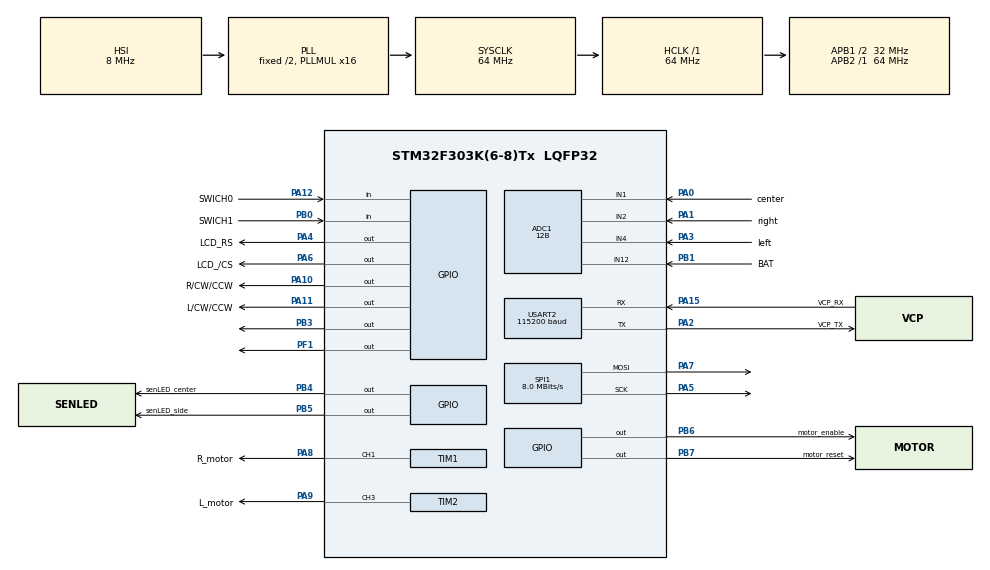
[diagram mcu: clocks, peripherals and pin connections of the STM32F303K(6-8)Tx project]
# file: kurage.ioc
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ADC1.Channel-0\#ChannelRegularConversion=ADC_CHANNEL_12
ADC1.Channel-1\#ChannelRegularConversion=ADC_CHANNEL_1
ADC1.Channel-2\#ChannelRegularConversion=ADC_CHANNEL_4
ADC1.Channel-3\#ChannelRegularConversion=ADC_CHANNEL_2
ADC1.ClockPrescaler=ADC_CLOCK_SYNC_PCLK_DIV4
ADC1.ContinuousConvMode=ENABLE
ADC1.DMAContinuousRequests=ENABLE
ADC1.EnableInjectedConversion=DISABLE
ADC1.NbrOfConversion=4
ADC1.NbrOfConversionFlag=1
ADC1.Offset-0\#ChannelRegularConversion=0
ADC1.Offset-1\#ChannelRegularConversion=0
ADC1.Offset-2\#ChannelRegularConversion=0
ADC1.Offset-3\#ChannelRegularConversion=0
ADC1.OffsetNumber-0\#ChannelRegularConversion=ADC_OFFSET_NONE
ADC1.OffsetNumber-1\#ChannelRegularConversion=ADC_OFFSET_NONE
ADC1.OffsetNumber-2\#ChannelRegularConversion=ADC_OFFSET_NONE
ADC1.OffsetNumber-3\#ChannelRegularConversion=ADC_OFFSET_NONE
ADC1.Rank-0\#ChannelRegularConversion=1
ADC1.Rank-1\#ChannelRegularConversion=2
ADC1.Rank-2\#ChannelRegularConversion=3
ADC1.Rank-3\#ChannelRegularConversion=4
ADC1.Resolution=ADC_RESOLUTION_12B
ADC1.SamplingTime-0\#ChannelRegularConversion=ADC_SAMPLETIME_19CYCLES_5
ADC1.SamplingTime-1\#ChannelRegularConversion=ADC_SAMPLETIME_19CYCLES_5
ADC1.SamplingTime-2\#ChannelRegularConversion=ADC_SAMPLETIME_19CYCLES_5
ADC1.SamplingTime-3\#ChannelRegularConversion=ADC_SAMPLETIME_19CYCLES_5
ADC1.SubFamily=STM32F303x8
ADC1.master=1
Dma.ADC1.0.Direction=DMA_PERIPH_TO_MEMORY
Dma.ADC1.0.Instance=DMA1_Channel1
Dma.ADC1.0.MemDataAlignment=DMA_MDATAALIGN_HALFWORD
Dma.ADC1.0.MemInc=DMA_MINC_ENABLE
Dma.ADC1.0.Mode=DMA_CIRCULAR
Dma.ADC1.0.PeriphDataAlignment=DMA_PDATAALIGN_HALFWORD
Dma.ADC1.0.PeriphInc=DMA_PINC_DISABLE
Dma.ADC1.0.Priority=DMA_PRIORITY_LOW
Dma.Request0=ADC1
Mcu.Family=STM32F3
Mcu.Name=STM32F303K(6-8)Tx
Mcu.Package=LQFP32
NVIC.DMA1_Channel1_IRQn=true\:4\:0\:true\:false\:true\:false\:true
NVIC.PriorityGroup=NVIC_PRIORITYGROUP_4
NVIC.TIM1_CC_IRQn=true\:0\:0\:false\:false\:true\:true\:true
NVIC.TIM1_UP_TIM16_IRQn=true\:1\:0\:true\:false\:true\:true\:true
NVIC.TIM2_IRQn=true\:2\:0\:true\:false\:true\:true\:true
NVIC.TIM3_IRQn=true\:0\:0\:false\:false\:true\:true\:true
NVIC.TIM6_DAC1_IRQn=true\:3\:0\:true\:false\:true\:true\:true
PA0.GPIO_Label=center
PA0.Mode=IN1-Single-Ended
PA0.Signal=ADC1_IN1
PA1.GPIO_Label=right
PA1.Mode=IN2-Single-Ended
PA1.Signal=ADC1_IN2
PA10.GPIO_Label=R/CW/CCW
PA10.Signal=GPIO_Output
PA11.GPIO_Label=L/CW/CCW
PA11.Signal=GPIO_Output
PA12.GPIO_Label=SWICH0
PA12.GPIO_PuPd=GPIO_PULLUP
PA12.Signal=GPIO_Input
PA13.Mode=Serial_Wire
PA13.Signal=SYS_JTMS-SWDIO
PA14.Mode=Serial_Wire
PA14.Signal=SYS_JTCK-SWCLK
PA15.GPIO_Label=VCP_RX
PA15.Mode=Asynchronous
PA15.Signal=USART2_RX
PA2.GPIO_Label=VCP_TX
PA2.Mode=Asynchronous
PA2.Signal=USART2_TX
PA3.GPIO_Label=left
PA3.Mode=IN4-Single-Ended
PA3.Signal=ADC1_IN4
PA4.GPIO_Label=LCD_RS
PA4.GPIO_PuPd=GPIO_PULLDOWN
PA4.Signal=GPIO_Output
PA5.GPIO_PuPd=GPIO_PULLUP
PA5.Mode=TX_Only_Simplex_Unidirect_Master
PA5.Signal=SPI1_SCK
PA6.GPIO_Label=LCD_/CS
PA6.GPIO_PuPd=GPIO_PULLUP
PA6.Signal=GPIO_Output
PA7.GPIO_PuPd=GPIO_PULLUP
PA7.Mode=TX_Only_Simplex_Unidirect_Master
PA7.Signal=SPI1_MOSI
PA8.GPIO_Label=R_motor
PA8.Signal=S_TIM1_CH1
PA9.GPIO_Label=L_motor
PA9.Signal=S_TIM2_CH3
PB0.GPIO_Label=SWICH1
PB0.GPIO_PuPd=GPIO_PULLUP
PB0.Signal=GPIO_Input
PB1.GPIO_Label=BAT
PB1.Mode=IN12-Single-Ended
PB1.Signal=ADC1_IN12
PB3.Signal=GPIO_Output
PB4.GPIO_Label=senLED_center
PB4.Signal=GPIO_Output
PB5.GPIO_Label=senLED_side
PB5.Signal=GPIO_Output
PB6.GPIO_Label=motor_enable
PB6.Signal=GPIO_Output
PB7.GPIO_Label=motor_reset
PB7.Signal=GPIO_Output
PF0\ /\ OSC_IN.GPIO_Label=MCO
PF0\ /\ OSC_IN.Mode=HSE-External-Clock-Source
PF0\ /\ OSC_IN.Signal=RCC_OSC_IN
PF1\ /\ OSC_OUT.Signal=GPIO_Output
ProjectManager.HeapSize=0x200
ProjectManager.StackSize=0x400
ProjectManager.TargetToolchain=STM32CubeIDE
RCC.AHBFreq_Value=64000000
RCC.APB1CLKDivider=RCC_HCLK_DIV2
RCC.APB1Freq_Value=32000000
RCC.APB1TimFreq_Value=64000000
RCC.APB2Freq_Value=64000000
RCC.APB2TimFreq_Value=64000000
RCC.CortexFreq_Value=64000000
RCC.HCLKFreq_Value=64000000
RCC.HSE_VALUE=8000000
RCC.HSI_VALUE=8000000
RCC.PLLMUL=RCC_PLL_MUL16
RCC.SYSCLKFreq_VALUE=64000000
RCC.SYSCLKSourceVirtual=RCC_SYSCLKSOURCE_PLLCLK
SH.S_TIM1_CH1.0=TIM1_CH1,PWM Generation1 CH1
SH.S_TIM2_CH3.0=TIM2_CH3,PWM Generation3 CH3
SPI1.BaudRatePrescaler=SPI_BAUDRATEPRESCALER_8
SPI1.CLKPhase=SPI_PHASE_2EDGE
SPI1.CLKPolarity=SPI_POLARITY_HIGH
SPI1.CalculateBaudRate=8.0 MBits/s
SPI1.DataSize=SPI_DATASIZE_8BIT
SPI1.Direction=SPI_DIRECTION_2LINES
SPI1.Mode=SPI_MODE_MASTER
SPI1.VirtualType=VM_MASTER
TIM1.AutoReloadPreload=TIM_AUTORELOAD_PRELOAD_ENABLE
TIM1.Channel-PWM\ Generation1\ CH1=TIM_CHANNEL_1
TIM1.Period=10000-1
TIM1.Prescaler=8-1
TIM1.Pulse-PWM\ Generation1\ CH1=5000-1
TIM2.Channel-PWM\ Generation3\ CH3=TIM_CHANNEL_3
TIM2.Period=10000-1
TIM2.Prescaler=8-1
TIM2.Pulse-PWM\ Generation3\ CH3=5000-1
TIM3.AutoReloadPreload=TIM_AUTORELOAD_PRELOAD_ENABLE
TIM3.Period=2273-1
TIM3.Prescaler=72-1
TIM6.AutoReloadPreload=TIM_AUTORELOAD_PRELOAD_ENABLE
TIM6.Period=1000-1
TIM6.Prescaler=64-1
USART2.BaudRate=115200
USART2.VirtualMode-Asynchronous=VM_ASYNC
VP_TIM3_VS_ClockSourceINT.Mode=Internal
VP_TIM6_VS_ClockSourceINT.Mode=Enable_Timer
board=custom

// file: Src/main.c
/* USER CODE BEGIN Header */
/**
 ******************************************************************************
 * @file           : main.c
 * @brief          : Main program body
 ******************************************************************************
 * @attention
 *
 * <h2><center>&copy; Copyright (c) 2019 STMicroelectronics.
 * All rights reserved.</center></h2>
 *
 * This software component is licensed by ST under BSD 3-Clause license,
 * the "License"; You may not use this file except in compliance with the
 * License. You may obtain a copy of the License at:
 *                        opensource.org/licenses/BSD-3-Clause
 *
 ******************************************************************************
 */
/* USER CODE END Header */

#include "main.h"

#include "adc.h"
#include "dma.h"
#include "spi.h"
#include "tim.h"
#include "usart.h"
#include "gpio.h"

/* USER CODE BEGIN Includes */
#include "stm32f3xx_hal.h"
#include "aqm1248a.h"
#include "myassign.h"
#include <math.h>
#include <stdint.h>
#include "motor.h"
#include "ad.h"
#include "move.h"
#include "map.h"
#include "modeselect.h"
/* USER CODE END Includes */

void SystemClock_Config(void);

int main(void) {

	/* MCU Configuration--------------------------------------------------------*/

	/* Reset of all peripherals, Initializes the Flash interface and the Systick. */
	HAL_Init();

	/* Configure the system clock */
	SystemClock_Config();

	/* Initialize all configured peripherals */
	MX_GPIO_Init();
	MX_DMA_Init();
	MX_ADC1_Init();
	MX_SPI1_Init();
	MX_TIM1_Init();
	MX_TIM2_Init();
	MX_TIM3_Init();
	MX_TIM6_Init();
	MX_USART2_UART_Init();
	/* USER CODE BEGIN 2 */
	initAQM1248A();
	HAL_TIM_Base_Start_IT(&htim6);
	HAL_TIM_Base_Start_IT(&htim1);
	HAL_TIM_PWM_Start(&htim1, TIM_CHANNEL_1);
	HAL_TIM_Base_Start_IT(&htim2);
	HAL_TIM_PWM_Start(&htim2, TIM_CHANNEL_3);
	HAL_ADC_Start_DMA(&hadc1, (uint32_t *) g_ADCBuffer, 4);
	HAL_Delay(10);
	AD_bat();
	HAL_TIM_Base_Stop_IT(&htim1);
	HAL_TIM_PWM_Stop_IT(&htim1, TIM_CHANNEL_1);
	HAL_TIM_Base_Stop_IT(&htim2);
	HAL_TIM_PWM_Stop_IT(&htim2, TIM_CHANNEL_3);
	/* USER CODE END 2 */

	/* Infinite loop */

	/* USER CODE BEGIN 3 */

	g_location.x_goal = 2;
	g_location.y_goal = 0;
	g_WallThreshold.center = 1;
	g_WallThreshold.right = 150;
	g_WallThreshold.left = 40;
	modeSelect();

	/* USER CODE END 3 */
}

void SystemClock_Config(void) {
	RCC_OscInitTypeDef RCC_OscInitStruct = { 0 };
	RCC_ClkInitTypeDef RCC_ClkInitStruct = { 0 };
	RCC_PeriphCLKInitTypeDef PeriphClkInit = { 0 };

	/** Initializes the CPU, AHB and APB busses clocks
	 */
	RCC_OscInitStruct.OscillatorType = RCC_OSCILLATORTYPE_HSI;
	RCC_OscInitStruct.HSIState = RCC_HSI_ON;
	RCC_OscInitStruct.HSICalibrationValue = RCC_HSICALIBRATION_DEFAULT;
	RCC_OscInitStruct.PLL.PLLState = RCC_PLL_ON;
	RCC_OscInitStruct.PLL.PLLSource = RCC_PLLSOURCE_HSI;
	RCC_OscInitStruct.PLL.PLLMUL = RCC_PLL_MUL16;
	if (HAL_RCC_OscConfig(&RCC_OscInitStruct) != HAL_OK) {
		Error_Handler();
	}
	/** Initializes the CPU, AHB and APB busses clocks
	 */
	RCC_ClkInitStruct.ClockType = RCC_CLOCKTYPE_HCLK | RCC_CLOCKTYPE_SYSCLK
			| RCC_CLOCKTYPE_PCLK1 | RCC_CLOCKTYPE_PCLK2;
	RCC_ClkInitStruct.SYSCLKSource = RCC_SYSCLKSOURCE_PLLCLK;
	RCC_ClkInitStruct.AHBCLKDivider = RCC_SYSCLK_DIV1;
	RCC_ClkInitStruct.APB1CLKDivider = RCC_HCLK_DIV2;
	RCC_ClkInitStruct.APB2CLKDivider = RCC_HCLK_DIV1;

	if (HAL_RCC_ClockConfig(&RCC_ClkInitStruct, FLASH_LATENCY_2) != HAL_OK) {
		Error_Handler();
	}
	PeriphClkInit.PeriphClockSelection = RCC_PERIPHCLK_TIM1;
	PeriphClkInit.Tim1ClockSelection = RCC_TIM1CLK_HCLK;
	if (HAL_RCCEx_PeriphCLKConfig(&PeriphClkInit) != HAL_OK) {
		Error_Handler();
	}
}

void Error_Handler(void) {
}

/************************ (C) COPYRIGHT STMicroelectronics *****END OF FILE****/
